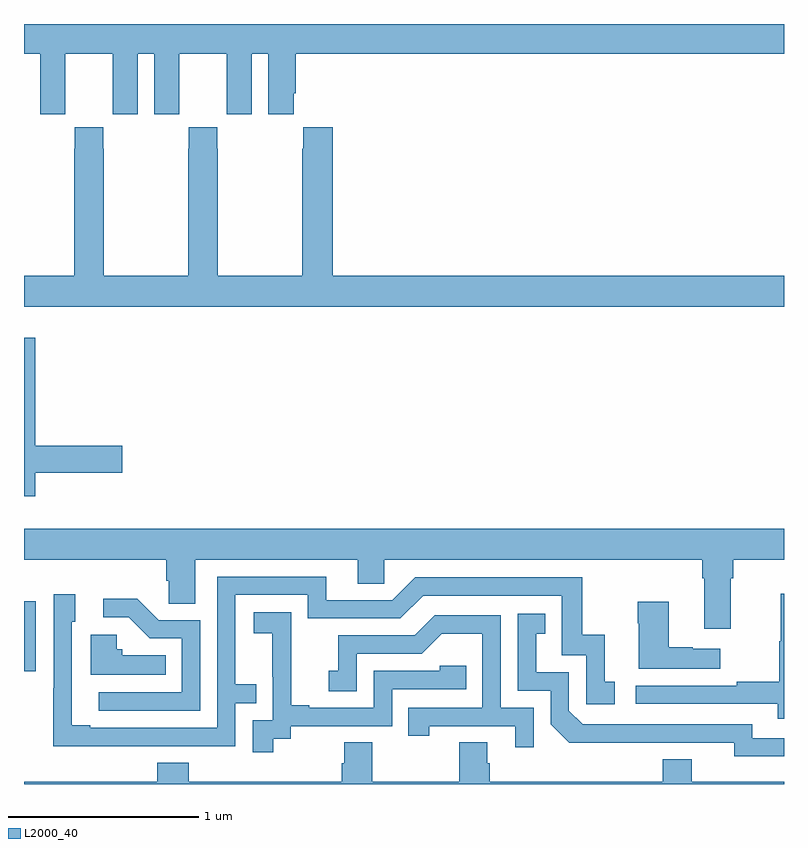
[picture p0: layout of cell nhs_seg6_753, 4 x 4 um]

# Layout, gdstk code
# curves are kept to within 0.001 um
import gdstk
lib = gdstk.Library(unit=1e-6, precision=1e-09)
def R(c, l, rs):  # rectangles x0, y0, x1, y1
    for r in rs: c.add(gdstk.rectangle(r[:2], r[2:], *l))
def P(c, l, *ps):  # polygons
    for p in ps: c.add(gdstk.Polygon(p, *l))
L2000_40 = (2000, 40)

nhs_seg6_753 = lib.new_cell('nhs_seg6_753')
R(nhs_seg6_753, L2000_40, [(159,936.093,159.063,936.462)])
P(nhs_seg6_753, L2000_40, [(159.216,939.136),(159.217,939.136),(159.217,939.344),(159.467,939.344),(159.467,939.136),(159.468,939.136),(159.468,939.024),(159.598,939.024),(159.598,939.344),(159.686,939.344),(159.686,939.024),(159.816,939.024),(159.816,939.136),(159.817,939.136),(159.817,939.344),(160.067,939.344),(160.067,939.136),(160.068,939.136),(160.068,939.024),(160.198,939.024),(160.198,939.344),(160.286,939.344),(160.286,939.024),(160.42,939.024),(160.42,939.136),(160.43,939.136),(160.43,939.344),(163,939.344),(163,939.5),(159,939.5),(159,939.344),(159.086,939.344),(159.086,939.024),(159.216,939.024)],
  [(163,938.176),(160.625,938.176),(160.625,938.956),(160.471,938.956),(160.471,938.843),(160.465,938.843),(160.465,938.176),(160.02,938.176),(160.02,938.843),(160.017,938.843),(160.017,938.956),(159.867,938.956),(159.867,938.843),(159.865,938.843),(159.865,938.176),(159.42,938.176),(159.42,938.843),(159.417,938.843),(159.417,938.956),(159.267,938.956),(159.267,938.843),(159.265,938.843),(159.265,938.176),(159,938.176),(159,938.012),(163,938.012)],
  [(159.059,937.138),(159.517,937.138),(159.517,937.28),(159.059,937.28),(159.059,937.849),(159,937.849),(159,937.014),(159.059,937.014)],
  [(159,936.68),(159.749,936.68),(159.749,936.571),(159.762,936.571),(159.762,936.448),(159.901,936.448),(159.901,936.68),(160.757,936.68),(160.757,936.553),(160.896,936.553),(160.896,936.68),(162.569,936.68),(162.569,936.584),(162.581,936.584),(162.581,936.318),(162.721,936.318),(162.721,936.584),(162.734,936.584),(162.734,936.68),(163,936.68),(163,936.844),(159,936.844)],
  [(159.617,935.7),(160.113,935.7),(160.113,935.925),(160.223,935.925),(160.223,936.026),(160.113,936.026),(160.113,936.495),(160.494,936.495),(160.494,936.372),(160.98,936.372),(161.1,936.492),(161.829,936.492),(161.829,936.177),(161.958,936.177),(161.958,935.919),(162.109,935.919),(162.109,936.039),(162.056,936.039),(162.056,936.286),(161.938,936.286),(161.938,936.588),(161.058,936.588),(160.938,936.468),(160.591,936.468),(160.591,936.591),(160.017,936.591),(160.017,935.796),(159.349,935.796),(159.349,935.809),(159.252,935.809),(159.252,936.354),(159.271,936.354),(159.271,936.499),(159.156,936.499),(159.156,936.005),(159.154,936.005),(159.154,935.699)],
  [(163,936.502),(162.982,936.502),(162.982,936.252),(162.975,936.252),(162.975,936.038),(162.751,936.038),(162.751,936.018),(162.219,936.018),(162.219,935.922),(162.967,935.922),(162.967,935.844),(163,935.844)],
  [(159.927,936.363),(159.708,936.363),(159.595,936.476),(159.417,936.476),(159.417,936.378),(159.551,936.378),(159.662,936.267),(159.831,936.267),(159.831,935.982),(159.393,935.982),(159.393,935.886),(159.927,935.886)],
  [(162.664,936.211),(162.521,936.211),(162.521,936.221),(162.394,936.221),(162.394,936.46),(162.229,936.46),(162.229,936.347),(162.236,936.347),(162.236,936.107),(162.664,936.107)],
  [(160.312,935.737),(160.404,935.737),(160.404,935.805),(160.938,935.805),(160.938,936),(161.327,936),(161.327,936.123),(161.187,936.123),(161.187,936.096),(160.842,936.096),(160.842,935.901),(160.501,935.901),(160.501,935.914),(160.406,935.914),(160.406,936.197),(160.407,936.197),(160.407,936.403),(160.209,936.403),(160.209,936.293),(160.307,936.293),(160.307,936.065),(160.308,936.065),(160.308,935.835),(160.203,935.835),(160.203,935.667),(160.312,935.667)],
  [(163,935.742),(162.834,935.742),(162.834,935.814),(161.94,935.814),(161.868,935.886),(161.868,936.087),(161.695,936.087),(161.695,936.291),(161.744,936.291),(161.744,936.397),(161.598,936.397),(161.598,935.991),(161.772,935.991),(161.772,935.814),(161.87,935.717),(162.738,935.718),(162.738,935.645),(163,935.645)],
  [(161.682,935.901),(161.508,935.901),(161.508,936.387),(161.162,936.387),(161.057,936.282),(160.654,936.282),(160.654,936.097),(160.605,936.097),(160.605,935.988),(160.752,935.988),(160.752,936.186),(161.094,936.186),(161.198,936.29),(161.412,936.29),(161.412,935.901),(161.023,935.901),(161.023,935.754),(161.134,935.754),(161.134,935.805),(161.585,935.805),(161.585,935.694),(161.682,935.694)],
  [(159.746,936.178),(159.516,936.178),(159.516,936.21),(159.489,936.21),(159.489,936.286),(159.35,936.286),(159.35,936.074),(159.746,936.074)],
  [(163,935.512),(162.514,935.512),(162.514,935.629),(162.362,935.629),(162.362,935.512),(161.45,935.512),(161.45,935.61),(161.437,935.61),(161.437,935.72),(161.29,935.72),(161.29,935.512),(160.833,935.512),(160.833,935.72),(160.685,935.72),(160.685,935.61),(160.673,935.61),(160.673,935.512),(159.866,935.512),(159.866,935.611),(159.701,935.611),(159.701,935.512),(159,935.512),(159,935.5),(163,935.5)])

lib.write_gds('nhs_seg6_753.gds')
